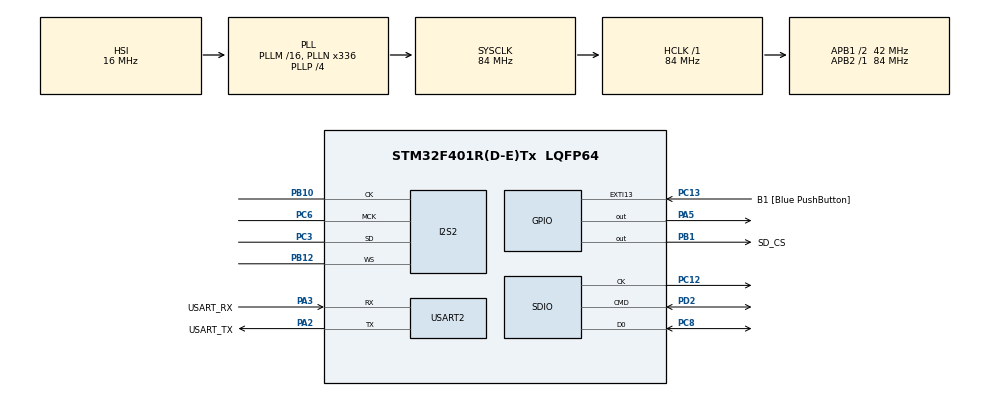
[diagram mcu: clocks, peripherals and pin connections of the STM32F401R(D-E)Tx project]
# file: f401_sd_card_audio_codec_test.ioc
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Dma.Request0=SDIO_RX
Dma.Request1=SDIO_TX
Dma.Request2=SPI2_TX
Dma.SDIO_RX.0.Direction=DMA_PERIPH_TO_MEMORY
Dma.SDIO_RX.0.FIFOMode=DMA_FIFOMODE_ENABLE
Dma.SDIO_RX.0.FIFOThreshold=DMA_FIFO_THRESHOLD_FULL
Dma.SDIO_RX.0.Instance=DMA2_Stream3
Dma.SDIO_RX.0.MemBurst=DMA_MBURST_INC4
Dma.SDIO_RX.0.MemDataAlignment=DMA_MDATAALIGN_WORD
Dma.SDIO_RX.0.MemInc=DMA_MINC_ENABLE
Dma.SDIO_RX.0.Mode=DMA_PFCTRL
Dma.SDIO_RX.0.PeriphBurst=DMA_PBURST_INC4
Dma.SDIO_RX.0.PeriphDataAlignment=DMA_PDATAALIGN_WORD
Dma.SDIO_RX.0.PeriphInc=DMA_PINC_DISABLE
Dma.SDIO_RX.0.Priority=DMA_PRIORITY_LOW
Dma.SDIO_TX.1.Direction=DMA_MEMORY_TO_PERIPH
Dma.SDIO_TX.1.FIFOMode=DMA_FIFOMODE_ENABLE
Dma.SDIO_TX.1.FIFOThreshold=DMA_FIFO_THRESHOLD_FULL
Dma.SDIO_TX.1.Instance=DMA2_Stream6
Dma.SDIO_TX.1.MemBurst=DMA_MBURST_INC4
Dma.SDIO_TX.1.MemDataAlignment=DMA_MDATAALIGN_WORD
Dma.SDIO_TX.1.MemInc=DMA_MINC_ENABLE
Dma.SDIO_TX.1.Mode=DMA_PFCTRL
Dma.SDIO_TX.1.PeriphBurst=DMA_PBURST_INC4
Dma.SDIO_TX.1.PeriphDataAlignment=DMA_PDATAALIGN_WORD
Dma.SDIO_TX.1.PeriphInc=DMA_PINC_DISABLE
Dma.SDIO_TX.1.Priority=DMA_PRIORITY_LOW
Dma.SPI2_TX.2.Direction=DMA_MEMORY_TO_PERIPH
Dma.SPI2_TX.2.FIFOMode=DMA_FIFOMODE_DISABLE
Dma.SPI2_TX.2.Instance=DMA1_Stream4
Dma.SPI2_TX.2.MemDataAlignment=DMA_MDATAALIGN_HALFWORD
Dma.SPI2_TX.2.MemInc=DMA_MINC_ENABLE
Dma.SPI2_TX.2.Mode=DMA_CIRCULAR
Dma.SPI2_TX.2.PeriphDataAlignment=DMA_PDATAALIGN_HALFWORD
Dma.SPI2_TX.2.PeriphInc=DMA_PINC_DISABLE
Dma.SPI2_TX.2.Priority=DMA_PRIORITY_VERY_HIGH
FATFS.USE_DMA_CODE_SD=1
FATFS._MAX_SS=4096
FATFS._USE_LFN=1
I2S2.AudioFreq=I2S_AUDIOFREQ_44K
I2S2.ErrorAudioFreq=0.19 %
I2S2.FullDuplexMode=I2S_FULLDUPLEXMODE_DISABLE
I2S2.Instance=SPI$Index
I2S2.RealAudioFreq=44.084 KHz
I2S2.VirtualMode=I2S_MODE_MASTER
Mcu.Family=STM32F4
Mcu.Name=STM32F401R(D-E)Tx
Mcu.Package=LQFP64
NVIC.DMA1_Stream4_IRQn=true\:0\:0\:false\:false\:true\:false\:true\:true
NVIC.DMA2_Stream3_IRQn=true\:0\:0\:false\:false\:true\:false\:true\:true
NVIC.DMA2_Stream6_IRQn=true\:0\:0\:false\:false\:true\:false\:true\:true
NVIC.EXTI15_10_IRQn=true\:0\:0\:false\:false\:true\:true\:true\:true
NVIC.PriorityGroup=NVIC_PRIORITYGROUP_0
NVIC.SDIO_IRQn=true\:0\:0\:false\:false\:true\:true\:true\:true
NVIC.SPI2_IRQn=true\:0\:0\:false\:false\:true\:true\:true\:true
NVIC.USART2_IRQn=true\:0\:0\:false\:false\:true\:true\:true\:true
PA13.GPIO_Label=TMS
PA13.Mode=Serial_Wire
PA13.Signal=SYS_JTMS-SWDIO
PA14.GPIO_Label=TCK
PA14.Mode=Serial_Wire
PA14.Signal=SYS_JTCK-SWCLK
PA2.GPIO_Label=USART_TX
PA2.GPIO_Mode=GPIO_MODE_AF_PP
PA2.GPIO_PuPd=GPIO_NOPULL
PA2.GPIO_Speed=GPIO_SPEED_FREQ_LOW
PA2.Mode=Asynchronous
PA2.Signal=USART2_TX
PA3.GPIO_Label=USART_RX
PA3.GPIO_Mode=GPIO_MODE_AF_PP
PA3.GPIO_PuPd=GPIO_NOPULL
PA3.GPIO_Speed=GPIO_SPEED_FREQ_LOW
PA3.Mode=Asynchronous
PA3.Signal=USART2_RX
PA5.GPIO_Mode=GPIO_MODE_OUTPUT_PP
PA5.GPIO_PuPd=GPIO_NOPULL
PA5.GPIO_Speed=GPIO_SPEED_FREQ_LOW
PA5.Signal=GPIO_Output
PB1.GPIO_Label=SD_CS
PB1.GPIO_PuPd=GPIO_NOPULL
PB1.Signal=GPIO_Output
PB10.Mode=Half_Duplex_Master
PB10.Signal=I2S2_CK
PB12.Mode=Half_Duplex_Master
PB12.Signal=I2S2_WS
PB13.GPIO_PuPd=GPIO_NOPULL
PB13.Signal=SPI2_SCK
PB14.GPIO_PuPd=GPIO_NOPULL
PB14.Signal=SPI2_MISO
PB15.GPIO_PuPd=GPIO_NOPULL
PB15.Signal=SPI2_MOSI
PB3.GPIO_Label=SWO
PB3.Signal=SYS_JTDO-SWO
PC10.Signal=SDIO_D2
PC11.Signal=SDIO_D3
PC12.Mode=SD_1_bit
PC12.Signal=SDIO_CK
PC13-ANTI_TAMP.GPIO_Label=B1 [Blue PushButton]
PC13-ANTI_TAMP.GPIO_ModeDefaultEXTI=GPIO_MODE_IT_FALLING
PC13-ANTI_TAMP.GPIO_PuPd=GPIO_NOPULL
PC13-ANTI_TAMP.Signal=GPXTI13
PC14-OSC32_IN.Mode=LSE-External-Oscillator
PC14-OSC32_IN.Signal=RCC_OSC32_IN
PC15-OSC32_OUT.Mode=LSE-External-Oscillator
PC15-OSC32_OUT.Signal=RCC_OSC32_OUT
PC3.GPIO_PuPd=GPIO_PULLUP
PC3.Mode=Half_Duplex_Master
PC3.Signal=I2S2_SD
PC6.Mode=Master_Clock_Activated
PC6.Signal=I2S2_MCK
PC8.GPIO_PuPd=GPIO_PULLUP
PC8.Mode=SD_1_bit
PC8.Signal=SDIO_D0
PC9.Signal=SDIO_D1
PD2.GPIO_PuPd=GPIO_PULLUP
PD2.Mode=SD_1_bit
PD2.Signal=SDIO_CMD
PH0\ -\ OSC_IN.Mode=HSE-External-Clock-Source
PH0\ -\ OSC_IN.Signal=RCC_OSC_IN
PH1\ -\ OSC_OUT.Mode=HSE-External-Clock-Source
PH1\ -\ OSC_OUT.Signal=RCC_OSC_OUT
ProjectManager.HeapSize=0x200
ProjectManager.StackSize=0x400
ProjectManager.TargetToolchain=Makefile
RCC.48MHZClocksFreq_Value=48000000
RCC.AHBFreq_Value=84000000
RCC.APB1CLKDivider=RCC_HCLK_DIV2
RCC.APB1Freq_Value=42000000
RCC.APB1TimFreq_Value=84000000
RCC.APB2Freq_Value=84000000
RCC.APB2TimFreq_Value=84000000
RCC.CortexFreq_Value=84000000
RCC.HCLKFreq_Value=84000000
RCC.HSE_VALUE=8000000
RCC.HSI_VALUE=16000000
RCC.PLLI2SN=316
RCC.PLLI2SR=7
RCC.PLLN=336
RCC.PLLP=RCC_PLLP_DIV4
RCC.PLLQ=7
RCC.SYSCLKFreq_VALUE=84000000
RCC.SYSCLKSource=RCC_SYSCLKSOURCE_PLLCLK
RCC.VCOOutputFreq_Value=336000000
STMicroelectronics.X-CUBE-ALGOBUILD.1.4.0.LibraryCcDSPOoLibraryJjDSPOoLibrary=true
USART2.VirtualMode=VM_ASYNC
VP_FATFS_VS_SDIO.Mode=SDIO
VP_STMicroelectronics.X-CUBE-ALGOBUILD_VS_DSPOoLibraryJjLibrary_1.4.0_1.4.0.Mode=DSPOoLibraryJjLibrary
board=NUCLEO-F401RE

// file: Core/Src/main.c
/* USER CODE BEGIN Header */
/**
  ******************************************************************************
  * @file           : main.c
  * @brief          : Main program body
  ******************************************************************************
  * @attention
  *
  * <h2><center>&copy; Copyright (c) 2020 STMicroelectronics.
  * All rights reserved.</center></h2>
  *
  * This software component is licensed by ST under BSD 3-Clause license,
  * the "License"; You may not use this file except in compliance with the
  * License. You may obtain a copy of the License at:
  *                        opensource.org/licenses/BSD-3-Clause
  *
  ******************************************************************************
  */
/* USER CODE END Header */
#include "main.h"
#include "fatfs.h"

/* USER CODE BEGIN Includes */
#include <stdio.h>
#include <string.h>
#include "math.h"
#include "audio.h"
#include "wavPlayer.h"
#include "cpu_time.h"
#include "util.h"
#include "audioPreprocessor.h"

/* USER CODE END Includes */

I2S_HandleTypeDef hi2s2;
DMA_HandleTypeDef hdma_spi2_tx;

SD_HandleTypeDef hsd;
DMA_HandleTypeDef hdma_sdio_rx;
DMA_HandleTypeDef hdma_sdio_tx;

UART_HandleTypeDef huart2;

/* USER CODE BEGIN PV */

WavPlayer player;

/* USER CODE END PV */

void SystemClock_Config(void);
static void MX_GPIO_Init(void);
static void MX_DMA_Init(void);
static void MX_USART2_UART_Init(void);
static void MX_SDIO_SD_Init(void);
static void MX_I2S2_Init(void);

int main(void)
{

  /* MCU Configuration--------------------------------------------------------*/

  /* Reset of all peripherals, Initializes the Flash interface and the Systick. */
  HAL_Init();

  /* USER CODE BEGIN Init */
  // Init DWT Cycle Counter, for debugging purposes
  EnableDWT();
  /* USER CODE END Init */

  /* Configure the system clock */
  SystemClock_Config();

  /* Initialize all configured peripherals */
  MX_GPIO_Init();
  MX_DMA_Init();
  MX_USART2_UART_Init();
  MX_FATFS_Init();
  MX_SDIO_SD_Init();
  MX_I2S2_Init();
  /* USER CODE BEGIN 2 */

    /* FPU settings ------------------------------------------------------------*/
    #if (__FPU_PRESENT == 1) && (__FPU_USED == 1)
      SCB->CPACR |= ((3UL << 10*2)|(3UL << 11*2));  /* set CP10 and CP11 Full Access */
    #endif

    HAL_Delay(1000); //a short delay is important to let the SD card settle

    //vars for Fatfs
    FATFS FatFs; 	//Fatfs handle
    FIL fil; 		//File handle
    FIL filResample; 		//File handle
    FRESULT fres; //Result after operations
    //wav header
    wav_header_t wavHeader;

    //Open the file system
    fres = f_mount(&FatFs, SDPath, 1); //1=mount now
    if (fres != FR_OK) {
        uart_printf("f_mount error (%i)\r\n", fres);
        while(1);
    }

    // enable CPU Timer Register
    EnableDWT();

    // Init the player
    initPlayer(&player, &fil, &wavHeader);

    if(wavLoad(&player, "letsroll.wav") != FR_OK){
        while(1);
    }

    // create new header
    wav_header_t resampledHeader;

    FRESULT res;
    UINT bw;
    res = f_open(&filResample, "letsroll_resampled.wav", FA_CREATE_ALWAYS | FA_WRITE);
    if (res == FR_OK){
      // write wavHeader to resampled wav
      arm_status status = initFilter();
      if(status){
        printf("fart");
      }

      StartCycleMeasurement();
      uint16_t dataSize = resampleFile(player.file, &filResample, player.wavHeader, &resampledHeader);
      StopCycleMeasurement();
      volatile uint32_t millis = CyclesToMilliseconds(GetMeasuredCycles());

      f_close(&filResample);
    }

    // initSineTable();

  /* USER CODE END 2 */

  /* Infinite loop */
  /* USER CODE BEGIN WHILE */

    // wavPlay(&fil, &currentWav);
    // generateSineWave(1000.0);
    while (1)
    {
      if(player.playbackActive){
        wavPlayPitched(&player);
        // wavPlay(&player);
      }
    /* USER CODE END WHILE */

    }
}

void SystemClock_Config(void)
{
  RCC_OscInitTypeDef RCC_OscInitStruct = {0};
  RCC_ClkInitTypeDef RCC_ClkInitStruct = {0};

  /** Configure the main internal regulator output voltage
  */
  __HAL_RCC_PWR_CLK_ENABLE();
  __HAL_PWR_VOLTAGESCALING_CONFIG(PWR_REGULATOR_VOLTAGE_SCALE2);

  /** Initializes the RCC Oscillators according to the specified parameters
  * in the RCC_OscInitTypeDef structure.
  */
  RCC_OscInitStruct.OscillatorType = RCC_OSCILLATORTYPE_HSI;
  RCC_OscInitStruct.HSIState = RCC_HSI_ON;
  RCC_OscInitStruct.HSICalibrationValue = RCC_HSICALIBRATION_DEFAULT;
  RCC_OscInitStruct.PLL.PLLState = RCC_PLL_ON;
  RCC_OscInitStruct.PLL.PLLSource = RCC_PLLSOURCE_HSI;
  RCC_OscInitStruct.PLL.PLLM = 16;
  RCC_OscInitStruct.PLL.PLLN = 336;
  RCC_OscInitStruct.PLL.PLLP = RCC_PLLP_DIV4;
  RCC_OscInitStruct.PLL.PLLQ = 7;
  if (HAL_RCC_OscConfig(&RCC_OscInitStruct) != HAL_OK)
  {
    Error_Handler();
  }

  /** Initializes the CPU, AHB and APB buses clocks
  */
  RCC_ClkInitStruct.ClockType = RCC_CLOCKTYPE_HCLK|RCC_CLOCKTYPE_SYSCLK
                              |RCC_CLOCKTYPE_PCLK1|RCC_CLOCKTYPE_PCLK2;
  RCC_ClkInitStruct.SYSCLKSource = RCC_SYSCLKSOURCE_PLLCLK;
  RCC_ClkInitStruct.AHBCLKDivider = RCC_SYSCLK_DIV1;
  RCC_ClkInitStruct.APB1CLKDivider = RCC_HCLK_DIV2;
  RCC_ClkInitStruct.APB2CLKDivider = RCC_HCLK_DIV1;

  if (HAL_RCC_ClockConfig(&RCC_ClkInitStruct, FLASH_LATENCY_2) != HAL_OK)
  {
    Error_Handler();
  }
}

static void MX_I2S2_Init(void)
{

  hi2s2.Instance = SPI2;
  hi2s2.Init.Mode = I2S_MODE_MASTER_TX;
  hi2s2.Init.Standard = I2S_STANDARD_PHILIPS;
  hi2s2.Init.DataFormat = I2S_DATAFORMAT_16B;
  hi2s2.Init.MCLKOutput = I2S_MCLKOUTPUT_ENABLE;
  hi2s2.Init.AudioFreq = I2S_AUDIOFREQ_44K;
  hi2s2.Init.CPOL = I2S_CPOL_LOW;
  hi2s2.Init.ClockSource = I2S_CLOCK_PLL;
  hi2s2.Init.FullDuplexMode = I2S_FULLDUPLEXMODE_DISABLE;
  if (HAL_I2S_Init(&hi2s2) != HAL_OK)
  {
    Error_Handler();
  }

}

static void MX_SDIO_SD_Init(void)
{

  hsd.Instance = SDIO;
  hsd.Init.ClockEdge = SDIO_CLOCK_EDGE_RISING;
  hsd.Init.ClockBypass = SDIO_CLOCK_BYPASS_DISABLE;
  hsd.Init.ClockPowerSave = SDIO_CLOCK_POWER_SAVE_DISABLE;
  hsd.Init.BusWide = SDIO_BUS_WIDE_1B;
  hsd.Init.HardwareFlowControl = SDIO_HARDWARE_FLOW_CONTROL_DISABLE;
  hsd.Init.ClockDiv = 0;
  /* USER CODE BEGIN SDIO_Init 2 */
  if (HAL_SD_Init(&hsd) != HAL_OK)
  {
    Error_Handler();
  }
  if (HAL_SD_ConfigWideBusOperation(&hsd, SDIO_BUS_WIDE_4B) != HAL_OK)
  {
    Error_Handler();
  }
  /* USER CODE END SDIO_Init 2 */

}

static void MX_USART2_UART_Init(void)
{

  huart2.Instance = USART2;
  huart2.Init.BaudRate = 115200;
  huart2.Init.WordLength = UART_WORDLENGTH_8B;
  huart2.Init.StopBits = UART_STOPBITS_1;
  huart2.Init.Parity = UART_PARITY_NONE;
  huart2.Init.Mode = UART_MODE_TX_RX;
  huart2.Init.HwFlowCtl = UART_HWCONTROL_NONE;
  huart2.Init.OverSampling = UART_OVERSAMPLING_16;
  if (HAL_UART_Init(&huart2) != HAL_OK)
  {
    Error_Handler();
  }

}

static void MX_DMA_Init(void)
{

  /* DMA controller clock enable */
  __HAL_RCC_DMA2_CLK_ENABLE();
  __HAL_RCC_DMA1_CLK_ENABLE();

  /* DMA interrupt init */
  /* DMA1_Stream4_IRQn interrupt configuration */
  HAL_NVIC_SetPriority(DMA1_Stream4_IRQn, 0, 0);
  HAL_NVIC_EnableIRQ(DMA1_Stream4_IRQn);
  /* DMA2_Stream3_IRQn interrupt configuration */
  HAL_NVIC_SetPriority(DMA2_Stream3_IRQn, 0, 0);
  HAL_NVIC_EnableIRQ(DMA2_Stream3_IRQn);
  /* DMA2_Stream6_IRQn interrupt configuration */
  HAL_NVIC_SetPriority(DMA2_Stream6_IRQn, 0, 0);
  HAL_NVIC_EnableIRQ(DMA2_Stream6_IRQn);

}

static void MX_GPIO_Init(void)
{
  GPIO_InitTypeDef GPIO_InitStruct = {0};

  /* GPIO Ports Clock Enable */
  __HAL_RCC_GPIOC_CLK_ENABLE();
  __HAL_RCC_GPIOH_CLK_ENABLE();
  __HAL_RCC_GPIOA_CLK_ENABLE();
  __HAL_RCC_GPIOB_CLK_ENABLE();
  __HAL_RCC_GPIOD_CLK_ENABLE();

  /*Configure GPIO pin Output Level */
  HAL_GPIO_WritePin(GPIOA, GPIO_PIN_5, GPIO_PIN_RESET);

  /*Configure GPIO pin Output Level */
  HAL_GPIO_WritePin(SD_CS_GPIO_Port, SD_CS_Pin, GPIO_PIN_RESET);

  /*Configure GPIO pin : B1_Pin */
  GPIO_InitStruct.Pin = B1_Pin;
  GPIO_InitStruct.Mode = GPIO_MODE_IT_FALLING;
  GPIO_InitStruct.Pull = GPIO_NOPULL;
  HAL_GPIO_Init(B1_GPIO_Port, &GPIO_InitStruct);

  /*Configure GPIO pin : PA5 */
  GPIO_InitStruct.Pin = GPIO_PIN_5;
  GPIO_InitStruct.Mode = GPIO_MODE_OUTPUT_PP;
  GPIO_InitStruct.Pull = GPIO_NOPULL;
  GPIO_InitStruct.Speed = GPIO_SPEED_FREQ_LOW;
  HAL_GPIO_Init(GPIOA, &GPIO_InitStruct);

  /*Configure GPIO pin : SD_CS_Pin */
  GPIO_InitStruct.Pin = SD_CS_Pin;
  GPIO_InitStruct.Mode = GPIO_MODE_OUTPUT_PP;
  GPIO_InitStruct.Pull = GPIO_NOPULL;
  GPIO_InitStruct.Speed = GPIO_SPEED_FREQ_LOW;
  HAL_GPIO_Init(SD_CS_GPIO_Port, &GPIO_InitStruct);

  /*Configure GPIO pins : PB13 PB14 PB15 */
  GPIO_InitStruct.Pin = GPIO_PIN_13|GPIO_PIN_14|GPIO_PIN_15;
  GPIO_InitStruct.Mode = GPIO_MODE_AF_PP;
  GPIO_InitStruct.Pull = GPIO_NOPULL;
  GPIO_InitStruct.Speed = GPIO_SPEED_FREQ_VERY_HIGH;
  GPIO_InitStruct.Alternate = GPIO_AF5_SPI2;
  HAL_GPIO_Init(GPIOB, &GPIO_InitStruct);

  /* EXTI interrupt init*/
  HAL_NVIC_SetPriority(EXTI15_10_IRQn, 0, 0);
  HAL_NVIC_EnableIRQ(EXTI15_10_IRQn);

}

/* USER CODE BEGIN 4 */

void HAL_GPIO_EXTI_Callback(uint16_t GPIO_Pin) {
    if (GPIO_Pin == B1_Pin) {
        // Handle the button press
        playButtonHandler(&player);
    }
}

/* USER CODE END 4 */

void Error_Handler(void)
{
}
